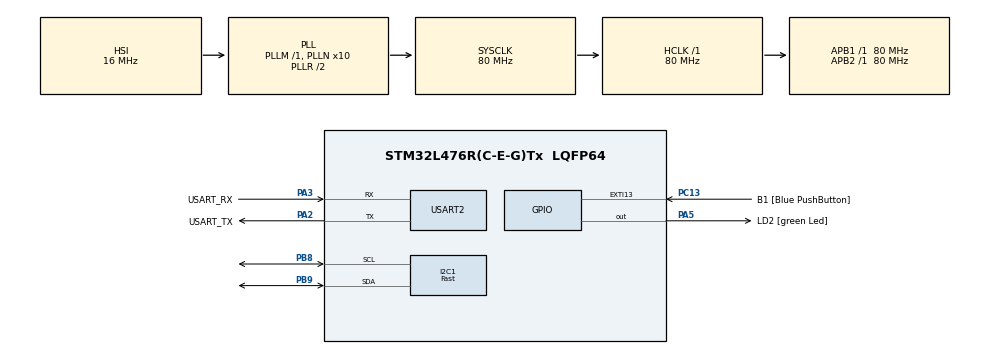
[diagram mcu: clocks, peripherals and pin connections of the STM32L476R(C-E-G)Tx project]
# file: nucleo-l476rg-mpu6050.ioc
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I2C1.CustomTiming=Enabled
I2C1.I2C_Speed_Mode=I2C_Fast
I2C1.Timing=0x00702991
Mcu.Family=STM32L4
Mcu.Name=STM32L476R(C-E-G)Tx
Mcu.Package=LQFP64
NVIC.PriorityGroup=NVIC_PRIORITYGROUP_4
PA13\ (JTMS-SWDIO).GPIO_Label=TMS
PA13\ (JTMS-SWDIO).Mode=Serial_Wire
PA13\ (JTMS-SWDIO).Signal=SYS_JTMS-SWDIO
PA14\ (JTCK-SWCLK).GPIO_Label=TCK
PA14\ (JTCK-SWCLK).Mode=Serial_Wire
PA14\ (JTCK-SWCLK).Signal=SYS_JTCK-SWCLK
PA2.GPIO_Label=USART_TX
PA2.GPIO_Mode=GPIO_MODE_AF_PP
PA2.GPIO_PuPd=GPIO_NOPULL
PA2.GPIO_Speed=GPIO_SPEED_FREQ_VERY_HIGH
PA2.Mode=Asynchronous
PA2.Signal=USART2_TX
PA3.GPIO_Label=USART_RX
PA3.GPIO_Mode=GPIO_MODE_AF_PP
PA3.GPIO_PuPd=GPIO_NOPULL
PA3.GPIO_Speed=GPIO_SPEED_FREQ_VERY_HIGH
PA3.Mode=Asynchronous
PA3.Signal=USART2_RX
PA5.GPIO_Label=LD2 [green Led]
PA5.GPIO_ModeDefaultOutputPP=GPIO_MODE_OUTPUT_PP
PA5.GPIO_PuPd=GPIO_NOPULL
PA5.GPIO_Speed=GPIO_SPEED_FREQ_LOW
PA5.Signal=GPIO_Output
PB3\ (JTDO-TRACESWO).GPIO_Label=SWO
PB3\ (JTDO-TRACESWO).Signal=SYS_JTDO-SWO
PB8.Mode=I2C
PB8.Signal=I2C1_SCL
PB9.Mode=I2C
PB9.Signal=I2C1_SDA
PC13.GPIO_Label=B1 [Blue PushButton]
PC13.GPIO_ModeDefaultEXTI=GPIO_MODE_IT_FALLING
PC13.GPIO_PuPd=GPIO_NOPULL
PC13.Signal=GPXTI13
PC14-OSC32_IN\ (PC14).Signal=RCC_OSC32_IN
PC15-OSC32_OUT\ (PC15).Signal=RCC_OSC32_OUT
PH0-OSC_IN\ (PH0).Mode=HSE-External-Oscillator
PH0-OSC_IN\ (PH0).Signal=RCC_OSC_IN
PH1-OSC_OUT\ (PH1).Mode=HSE-External-Oscillator
PH1-OSC_OUT\ (PH1).Signal=RCC_OSC_OUT
ProjectManager.HeapSize=0x200
ProjectManager.StackSize=0x400
ProjectManager.TargetToolchain=STM32CubeIDE
RCC.ADCFreq_Value=64000000
RCC.AHBFreq_Value=80000000
RCC.APB1Freq_Value=80000000
RCC.APB1TimFreq_Value=80000000
RCC.APB2Freq_Value=80000000
RCC.APB2TimFreq_Value=80000000
RCC.CortexFreq_Value=80000000
RCC.HCLKFreq_Value=80000000
RCC.HSE_VALUE=8000000
RCC.HSI_VALUE=16000000
RCC.LSE_VALUE=32768
RCC.MSI_VALUE=4000000
RCC.PLLN=10
RCC.PLLSourceVirtual=RCC_PLLSOURCE_HSI
RCC.PREFETCH_ENABLE=1
RCC.SYSCLKFreq_VALUE=80000000
RCC.SYSCLKSource=RCC_SYSCLKSOURCE_PLLCLK
RCC.USBFreq_Value=64000000
RCC.VCOOutputFreq_Value=160000000
USART2.VirtualMode-Asynchronous=VM_ASYNC
board=NUCLEO-L476RG

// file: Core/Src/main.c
/* USER CODE BEGIN Header */
/**
  ******************************************************************************
  * @file           : main.c
  * @brief          : Main program body
  ******************************************************************************
  * @attention
  *
  * <h2><center>&copy; Copyright (c) 2021 STMicroelectronics.
  * All rights reserved.</center></h2>
  *
  * This software component is licensed by ST under BSD 3-Clause license,
  * the "License"; You may not use this file except in compliance with the
  * License. You may obtain a copy of the License at:
  *                        opensource.org/licenses/BSD-3-Clause
  *
  ******************************************************************************
  */
/* USER CODE END Header */
#include "main.h"

/* USER CODE BEGIN Includes */
#include <string.h>
#include <stdio.h>
/* USER CODE END Includes */

I2C_HandleTypeDef hi2c1;

UART_HandleTypeDef huart2;

void SystemClock_Config(void);
static void MX_GPIO_Init(void);
static void MX_USART2_UART_Init(void);
static void MX_I2C1_Init(void);

/* USER CODE BEGIN 0 */

#define MPU6050_ADDR 0xD0

#define SMPLRT_DIV_REG 0x19
#define GYRO_CONFIG_REG 0x1B
#define ACCEL_CONFIG_REG 0x1C
#define ACCEL_XOUT_H_REG 0x3B
#define TEMP_OUT_H_REG 0x41
#define GYRO_XOUT_H_REG 0x43
#define PWR_MGMT_1_REG 0x6B
#define WHO_AM_I_REG 0x75

int16_t Accel_X_RAW = 0;
int16_t Accel_Y_RAW = 0;
int16_t Accel_Z_RAW = 0;

int16_t Gyro_X_RAW = 0;
int16_t Gyro_Y_RAW = 0;
int16_t Gyro_Z_RAW = 0;

float Ax, Ay, Az, Gx, Gy, Gz;

void MPU6050_Init (void)
{
  uint8_t check, Data;

  /* Check device ID WHO_AM_I */
  HAL_I2C_Mem_Read (&hi2c1, MPU6050_ADDR,WHO_AM_I_REG,1, &check, 1, 1000);

  if (check == 114)  // 0x68 will be returned by the sensor if everything goes well
  	{
  	  /* power management register 0X6B we should write all 0's to wake the sensor up */
  	  Data = 0;
  	  HAL_I2C_Mem_Write(&hi2c1, MPU6050_ADDR, PWR_MGMT_1_REG, 1,&Data, 1, 1000);

	  /* Set DATA RATE of 1KHz by writing SMPLRT_DIV register */
	  Data = 0x07;
	  HAL_I2C_Mem_Write(&hi2c1, MPU6050_ADDR, SMPLRT_DIV_REG, 1, &Data, 1, 1000);

	  /* Set accelerometer configuration in ACCEL_CONFIG Register
	     XA_ST=0,YA_ST=0,ZA_ST=0, FS_SEL=0 -> � 2g */
	  Data = 0x00;
	  HAL_I2C_Mem_Write(&hi2c1, MPU6050_ADDR, ACCEL_CONFIG_REG, 1, &Data, 1, 1000);

  	  /* Set Gyroscopic configuration in GYRO_CONFIG Register
	     XG_ST=0,YG_ST=0,ZG_ST=0, FS_SEL=0 -> � 250 �/s */
	  Data = 0x00;
	  HAL_I2C_Mem_Write(&hi2c1, MPU6050_ADDR, GYRO_CONFIG_REG, 1, &Data, 1, 1000);
  	}
}

void MPU6050_Read_Accel (void)
{
  uint8_t Rec_Data[6];

  /* Read 6 BYTES of data starting from ACCEL_XOUT_H register */

  HAL_I2C_Mem_Read (&hi2c1, MPU6050_ADDR, ACCEL_XOUT_H_REG, 1, Rec_Data, 6, 1000);

  Accel_X_RAW = (int16_t)(Rec_Data[0] << 8 | Rec_Data [1]);
  Accel_Y_RAW = (int16_t)(Rec_Data[2] << 8 | Rec_Data [3]);
  Accel_Z_RAW = (int16_t)(Rec_Data[4] << 8 | Rec_Data [5]);

  /* convert the RAW values into acceleration in 'g'
     we have to divide according to the Full scale value set in FS_SEL
     I have configured FS_SEL = 0. So I am dividing by 16384.0
     for more details check ACCEL_CONFIG Register */

  Ax = Accel_X_RAW/16384.0;
  Ay = Accel_Y_RAW/16384.0;
  Az = Accel_Z_RAW/16384.0;
}

void MPU6050_Read_Gyro (void)
{
  uint8_t Rec_Data[6];

  // Read 6 BYTES of data starting from GYRO_XOUT_H register

  HAL_I2C_Mem_Read (&hi2c1, MPU6050_ADDR, GYRO_XOUT_H_REG, 1, Rec_Data, 6, 1000);

  Gyro_X_RAW = (int16_t)(Rec_Data[0] << 8 | Rec_Data [1]);
  Gyro_Y_RAW = (int16_t)(Rec_Data[2] << 8 | Rec_Data [3]);
  Gyro_Z_RAW = (int16_t)(Rec_Data[4] << 8 | Rec_Data [5]);

  /* convert the RAW values into dps (�/s)
     we have to divide according to the Full scale value set in FS_SEL
     I have configured FS_SEL = 0. So I am dividing by 131.0
     for more details check GYRO_CONFIG Register */

  Gx = Gyro_X_RAW/131.0;
  Gy = Gyro_Y_RAW/131.0;
  Gz = Gyro_Z_RAW/131.0;
}

/* USER CODE END 0 */

int main(void)
{
  /* USER CODE BEGIN 1 */

  char msg[100];

  /* USER CODE END 1 */

  /* MCU Configuration--------------------------------------------------------*/

  /* Reset of all peripherals, Initializes the Flash interface and the Systick. */
  HAL_Init();

  /* Configure the system clock */
  SystemClock_Config();

  /* Initialize all configured peripherals */
  MX_GPIO_Init();
  MX_USART2_UART_Init();
  MX_I2C1_Init();
  /* USER CODE BEGIN 2 */

  MPU6050_Init();
  HAL_Delay (1000);  // wait for 1 sec

  /* USER CODE END 2 */

  /* Infinite loop */
  while (1)
  {

    /* USER CODE BEGIN 3 */

	/* read the Accelerometer and Gyro values */

	MPU6050_Read_Accel();
	MPU6050_Read_Gyro();

	/* print the Acceleration and Gyro values on the LCD 20x4 */

	sprintf(msg, "Ax=%.2fg Ay=%.2fg Az=%.2fg Gx=%.2f Gy=%.2f Gz=%.2f \r\n", Ax, Ay, Az, Gx, Gy, Gz);
	HAL_UART_Transmit(&huart2, (uint8_t*)msg, strlen(msg), HAL_MAX_DELAY);

	 HAL_Delay (250);  // wait for a while

  }
  /* USER CODE END 3 */
}

void SystemClock_Config(void)
{
  RCC_OscInitTypeDef RCC_OscInitStruct = {0};
  RCC_ClkInitTypeDef RCC_ClkInitStruct = {0};
  RCC_PeriphCLKInitTypeDef PeriphClkInit = {0};

  /** Initializes the RCC Oscillators according to the specified parameters
  * in the RCC_OscInitTypeDef structure.
  */
  RCC_OscInitStruct.OscillatorType = RCC_OSCILLATORTYPE_HSI;
  RCC_OscInitStruct.HSIState = RCC_HSI_ON;
  RCC_OscInitStruct.HSICalibrationValue = RCC_HSICALIBRATION_DEFAULT;
  RCC_OscInitStruct.PLL.PLLState = RCC_PLL_ON;
  RCC_OscInitStruct.PLL.PLLSource = RCC_PLLSOURCE_HSI;
  RCC_OscInitStruct.PLL.PLLM = 1;
  RCC_OscInitStruct.PLL.PLLN = 10;
  RCC_OscInitStruct.PLL.PLLP = RCC_PLLP_DIV7;
  RCC_OscInitStruct.PLL.PLLQ = RCC_PLLQ_DIV2;
  RCC_OscInitStruct.PLL.PLLR = RCC_PLLR_DIV2;
  if (HAL_RCC_OscConfig(&RCC_OscInitStruct) != HAL_OK)
  {
    Error_Handler();
  }
  /** Initializes the CPU, AHB and APB buses clocks
  */
  RCC_ClkInitStruct.ClockType = RCC_CLOCKTYPE_HCLK|RCC_CLOCKTYPE_SYSCLK
                              |RCC_CLOCKTYPE_PCLK1|RCC_CLOCKTYPE_PCLK2;
  RCC_ClkInitStruct.SYSCLKSource = RCC_SYSCLKSOURCE_PLLCLK;
  RCC_ClkInitStruct.AHBCLKDivider = RCC_SYSCLK_DIV1;
  RCC_ClkInitStruct.APB1CLKDivider = RCC_HCLK_DIV1;
  RCC_ClkInitStruct.APB2CLKDivider = RCC_HCLK_DIV1;

  if (HAL_RCC_ClockConfig(&RCC_ClkInitStruct, FLASH_LATENCY_4) != HAL_OK)
  {
    Error_Handler();
  }
  PeriphClkInit.PeriphClockSelection = RCC_PERIPHCLK_USART2|RCC_PERIPHCLK_I2C1;
  PeriphClkInit.Usart2ClockSelection = RCC_USART2CLKSOURCE_PCLK1;
  PeriphClkInit.I2c1ClockSelection = RCC_I2C1CLKSOURCE_PCLK1;
  if (HAL_RCCEx_PeriphCLKConfig(&PeriphClkInit) != HAL_OK)
  {
    Error_Handler();
  }
  /** Configure the main internal regulator output voltage
  */
  if (HAL_PWREx_ControlVoltageScaling(PWR_REGULATOR_VOLTAGE_SCALE1) != HAL_OK)
  {
    Error_Handler();
  }
}

static void MX_I2C1_Init(void)
{

  hi2c1.Instance = I2C1;
  hi2c1.Init.Timing = 0x00702991;
  hi2c1.Init.OwnAddress1 = 0;
  hi2c1.Init.AddressingMode = I2C_ADDRESSINGMODE_7BIT;
  hi2c1.Init.DualAddressMode = I2C_DUALADDRESS_DISABLE;
  hi2c1.Init.OwnAddress2 = 0;
  hi2c1.Init.OwnAddress2Masks = I2C_OA2_NOMASK;
  hi2c1.Init.GeneralCallMode = I2C_GENERALCALL_DISABLE;
  hi2c1.Init.NoStretchMode = I2C_NOSTRETCH_DISABLE;
  if (HAL_I2C_Init(&hi2c1) != HAL_OK)
  {
    Error_Handler();
  }
  /** Configure Analogue filter
  */
  if (HAL_I2CEx_ConfigAnalogFilter(&hi2c1, I2C_ANALOGFILTER_ENABLE) != HAL_OK)
  {
    Error_Handler();
  }
  /** Configure Digital filter
  */
  if (HAL_I2CEx_ConfigDigitalFilter(&hi2c1, 0) != HAL_OK)
  {
    Error_Handler();
  }

}

static void MX_USART2_UART_Init(void)
{

  huart2.Instance = USART2;
  huart2.Init.BaudRate = 115200;
  huart2.Init.WordLength = UART_WORDLENGTH_8B;
  huart2.Init.StopBits = UART_STOPBITS_1;
  huart2.Init.Parity = UART_PARITY_NONE;
  huart2.Init.Mode = UART_MODE_TX_RX;
  huart2.Init.HwFlowCtl = UART_HWCONTROL_NONE;
  huart2.Init.OverSampling = UART_OVERSAMPLING_16;
  huart2.Init.OneBitSampling = UART_ONE_BIT_SAMPLE_DISABLE;
  huart2.AdvancedInit.AdvFeatureInit = UART_ADVFEATURE_NO_INIT;
  if (HAL_UART_Init(&huart2) != HAL_OK)
  {
    Error_Handler();
  }

}

static void MX_GPIO_Init(void)
{
  GPIO_InitTypeDef GPIO_InitStruct = {0};

  /* GPIO Ports Clock Enable */
  __HAL_RCC_GPIOC_CLK_ENABLE();
  __HAL_RCC_GPIOH_CLK_ENABLE();
  __HAL_RCC_GPIOA_CLK_ENABLE();
  __HAL_RCC_GPIOB_CLK_ENABLE();

  /*Configure GPIO pin Output Level */
  HAL_GPIO_WritePin(LD2_GPIO_Port, LD2_Pin, GPIO_PIN_RESET);

  /*Configure GPIO pin : B1_Pin */
  GPIO_InitStruct.Pin = B1_Pin;
  GPIO_InitStruct.Mode = GPIO_MODE_IT_FALLING;
  GPIO_InitStruct.Pull = GPIO_NOPULL;
  HAL_GPIO_Init(B1_GPIO_Port, &GPIO_InitStruct);

  /*Configure GPIO pin : LD2_Pin */
  GPIO_InitStruct.Pin = LD2_Pin;
  GPIO_InitStruct.Mode = GPIO_MODE_OUTPUT_PP;
  GPIO_InitStruct.Pull = GPIO_NOPULL;
  GPIO_InitStruct.Speed = GPIO_SPEED_FREQ_LOW;
  HAL_GPIO_Init(LD2_GPIO_Port, &GPIO_InitStruct);

}

void Error_Handler(void)
{
  __disable_irq();
  while (1)
  {
  }
}

/************************ (C) COPYRIGHT STMicroelectronics *****END OF FILE****/
